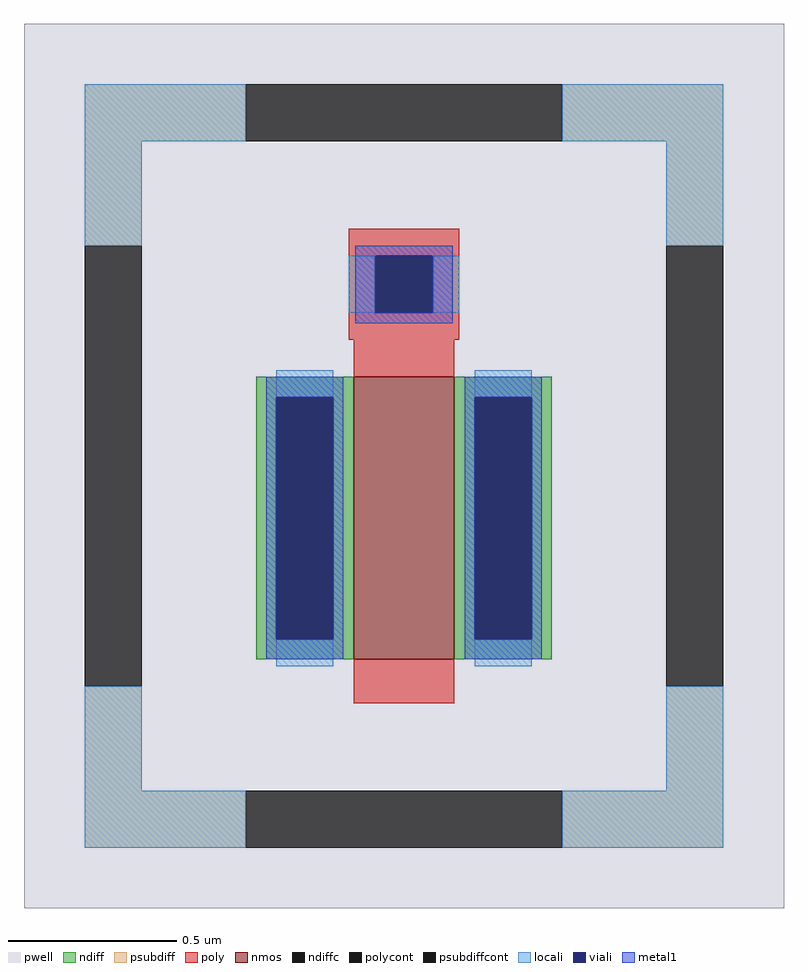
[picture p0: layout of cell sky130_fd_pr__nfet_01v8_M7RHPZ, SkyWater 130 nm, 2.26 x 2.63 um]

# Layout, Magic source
magic
tech sky130A
magscale 1 2
<< pwell >>
rect -226 -263 226 263
<< nmos >>
rect -30 -115 30 53
<< ndiff >>
rect -88 41 -30 53
rect -88 -103 -76 41
rect -42 -103 -30 41
rect -88 -115 -30 -103
rect 30 41 88 53
rect 30 -103 42 41
rect 76 -103 88 41
rect 30 -115 88 -103
<< ndiffc >>
rect -76 -103 -42 41
rect 42 -103 76 41
<< psubdiff >>
rect -190 193 -94 227
rect 94 193 190 227
rect -190 131 -156 193
rect 156 131 190 193
rect -190 -193 -156 -131
rect 156 -193 190 -131
rect -190 -227 -94 -193
rect 94 -227 190 -193
<< psubdiffcont >>
rect -94 193 94 227
rect -190 -131 -156 131
rect 156 -131 190 131
rect -94 -227 94 -193
<< poly >>
rect -33 125 33 141
rect -33 91 -17 125
rect 17 91 33 125
rect -33 75 33 91
rect -30 53 30 75
rect -30 -141 30 -115
<< polycont >>
rect -17 91 17 125
<< locali >>
rect -190 193 -94 227
rect 94 193 190 227
rect -190 131 -156 193
rect 156 131 190 193
rect -33 91 -17 125
rect 17 91 33 125
rect -76 41 -42 57
rect -76 -119 -42 -103
rect 42 41 76 57
rect 42 -119 76 -103
rect -190 -193 -156 -131
rect 156 -193 190 -131
rect -190 -227 -94 -193
rect 94 -227 190 -193
<< viali >>
rect -17 91 17 125
rect -76 -103 -42 41
rect 42 -103 76 41
<< metal1 >>
rect -29 125 29 131
rect -29 91 -17 125
rect 17 91 29 125
rect -29 85 29 91
rect -82 41 -36 53
rect -82 -103 -76 41
rect -42 -103 -36 41
rect -82 -115 -36 -103
rect 36 41 82 53
rect 36 -103 42 41
rect 76 -103 82 41
rect 36 -115 82 -103
<< properties >>
string FIXED_BBOX -173 -210 173 210
string gencell sky130_fd_pr__nfet_01v8
string library sky130
string parameters w 0.84 l 0.3 m 1 nf 1 diffcov 100 polycov 100 guard 1 glc 1 grc 1 gtc 1 gbc 1 tbcov 100 rlcov 100 topc 1 botc 0 poverlap 0 doverlap 1 lmin 0.15 wmin 0.42 compatible {sky130_fd_pr__nfet_01v8 sky130_fd_pr__nfet_01v8_lvt  sky130_fd_bs_flash__special_sonosfet_star  sky130_fd_pr__nfet_g5v0d10v5 sky130_fd_pr__nfet_05v0_nvt  sky130_fd_pr__nfet_03v3_nvt} full_metal 1 viasrc 100 viadrn 100 viagate 100 viagb 0 viagr 0 viagl 0 viagt 0
<< end >>
